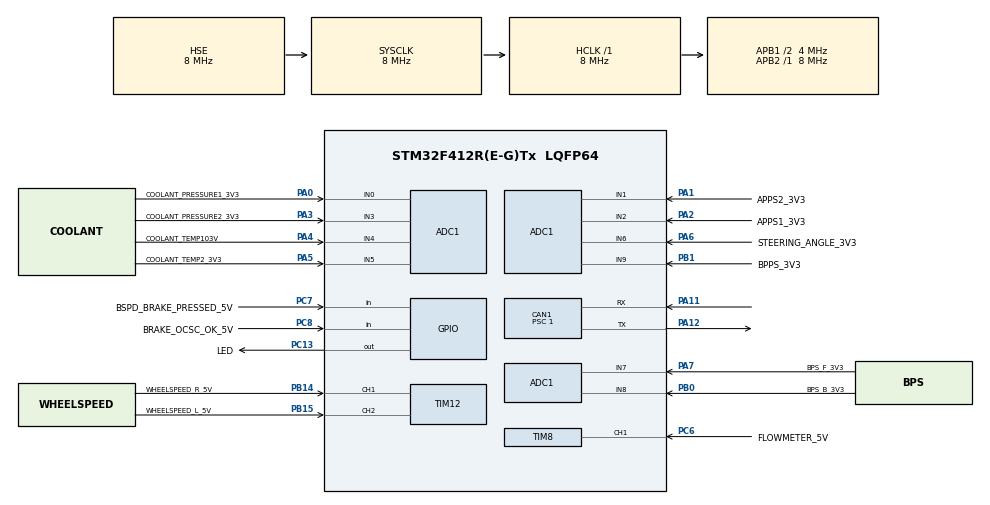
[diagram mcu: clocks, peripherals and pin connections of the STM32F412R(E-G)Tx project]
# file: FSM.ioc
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ADC1.Channel-0\#ChannelRegularConversion=ADC_CHANNEL_0
ADC1.Channel-1\#ChannelRegularConversion=ADC_CHANNEL_1
ADC1.Channel-2\#ChannelRegularConversion=ADC_CHANNEL_2
ADC1.Channel-3\#ChannelRegularConversion=ADC_CHANNEL_3
ADC1.Channel-4\#ChannelRegularConversion=ADC_CHANNEL_4
ADC1.Channel-5\#ChannelRegularConversion=ADC_CHANNEL_5
ADC1.Channel-6\#ChannelRegularConversion=ADC_CHANNEL_6
ADC1.Channel-7\#ChannelRegularConversion=ADC_CHANNEL_7
ADC1.Channel-8\#ChannelRegularConversion=ADC_CHANNEL_8
ADC1.Channel-9\#ChannelRegularConversion=ADC_CHANNEL_9
ADC1.DMAContinuousRequests=ENABLE
ADC1.ExternalTrigConv=ADC_EXTERNALTRIGCONV_T3_TRGO
ADC1.NbrOfConversion=10
ADC1.NbrOfConversionFlag=1
ADC1.Rank-0\#ChannelRegularConversion=1
ADC1.Rank-1\#ChannelRegularConversion=2
ADC1.Rank-2\#ChannelRegularConversion=3
ADC1.Rank-3\#ChannelRegularConversion=4
ADC1.Rank-4\#ChannelRegularConversion=5
ADC1.Rank-5\#ChannelRegularConversion=6
ADC1.Rank-6\#ChannelRegularConversion=7
ADC1.Rank-7\#ChannelRegularConversion=8
ADC1.Rank-8\#ChannelRegularConversion=9
ADC1.Rank-9\#ChannelRegularConversion=10
ADC1.SamplingTime-0\#ChannelRegularConversion=ADC_SAMPLETIME_3CYCLES
ADC1.SamplingTime-1\#ChannelRegularConversion=ADC_SAMPLETIME_3CYCLES
ADC1.SamplingTime-2\#ChannelRegularConversion=ADC_SAMPLETIME_3CYCLES
ADC1.SamplingTime-3\#ChannelRegularConversion=ADC_SAMPLETIME_3CYCLES
ADC1.SamplingTime-4\#ChannelRegularConversion=ADC_SAMPLETIME_3CYCLES
ADC1.SamplingTime-5\#ChannelRegularConversion=ADC_SAMPLETIME_3CYCLES
ADC1.SamplingTime-6\#ChannelRegularConversion=ADC_SAMPLETIME_3CYCLES
ADC1.SamplingTime-7\#ChannelRegularConversion=ADC_SAMPLETIME_3CYCLES
ADC1.SamplingTime-8\#ChannelRegularConversion=ADC_SAMPLETIME_3CYCLES
ADC1.SamplingTime-9\#ChannelRegularConversion=ADC_SAMPLETIME_3CYCLES
ADC1.master=1
CAN1.ABOM=ENABLE
CAN1.BS1=CAN_BS1_6TQ
CAN1.CalculateTimeQuantum=250.0
CAN1.NART=ENABLE
CAN1.Prescaler=1
CAN1.RFLM=ENABLE
CAN1.SJW=CAN_SJW_4TQ
CAN1.TXFP=ENABLE
Dma.ADC1.0.Direction=DMA_PERIPH_TO_MEMORY
Dma.ADC1.0.FIFOMode=DMA_FIFOMODE_DISABLE
Dma.ADC1.0.Instance=DMA2_Stream0
Dma.ADC1.0.MemDataAlignment=DMA_MDATAALIGN_HALFWORD
Dma.ADC1.0.MemInc=DMA_MINC_ENABLE
Dma.ADC1.0.Mode=DMA_CIRCULAR
Dma.ADC1.0.PeriphDataAlignment=DMA_PDATAALIGN_HALFWORD
Dma.ADC1.0.PeriphInc=DMA_PINC_DISABLE
Dma.ADC1.0.Priority=DMA_PRIORITY_LOW
Dma.Request0=ADC1
FREERTOS.INCLUDE_vTaskDelayUntil=1
FREERTOS.MEMORY_ALLOCATION=1
FREERTOS.Tasks01=Task1kHz,0,512,RunTask1kHz,Default,NULL,Static,Task1kHzBuffer,Task1kHzControlBlock;Task100Hz,-1,512,RunTask100Hz,Default,NULL,Static,Task100HzBuffer,Task100HzControlBlock;TaskCanRx,-3,512,RunTaskCanRx,Default,NULL,Static,TaskCanRxBuffer,TaskCanRxControlBlock;TaskCanTx,-3,512,RunTaskCanTx,Default,NULL,Static,TaskCanTxBuffer,TaskCanTxControlBlock;Task1Hz,-2,512,RunTask1Hz,Default,NULL,Static,Task1HzBuffer,Task1HzControlBlock
FREERTOS.configCHECK_FOR_STACK_OVERFLOW=2
FREERTOS.configUSE_TICK_HOOK=1
FREERTOS.configUSE_TRACE_FACILITY=1
IWDG.Reload=LSI_FREQUENCY / IWDG_PRESCALER / IWDG_RESET_FREQUENCY
Mcu.Family=STM32F4
Mcu.Name=STM32F412R(E-G)Tx
Mcu.Package=LQFP64
Mcu.UserConstants=LSI_FREQUENCY,32000;IWDG_PRESCALER,4;IWDG_RESET_FREQUENCY,5;IWDG_WINDOW_DISABLE_VALUE,4095;IDWG_RESET_FREQUENCY,5;TASK_1HZ_STACK_SIZE,512;TASK_100HZ_STACK_SIZE,512;TASK_1KHZ_STACK_SIZE,512;TASK_CANRX_STACK_SIZE,512;TASK_CANTX_STACK_SIZE,512;TIM8_AUTO_RELOAD_REG,0xFFFF;TIMx_FREQUENCY,8000000;TIM8_PWM_MINIMUM_FREQUENCY,1;ADC_FREQUENCY,1000;TIM8_PRESCALER,(TIMx_FREQUENCY / TIM8_AUTO_RELOAD_REG / TIM8_PWM_MINIMUM_FREQUENCY);TIM12_AUTO_RELOAD_REG,0xFFFF;TIM12_PRESCALER,(TIMx_FREQUENCY / TIM12_AUTO_RELOAD_REG / TIM12_PWM_MINIMUM_FREQUENCY);TIM12_PWM_MINIMUM_FREQUENCY,1;TIM3_PRESCALER,8
NVIC.CAN1_RX0_IRQn=true\:5\:0\:false\:false\:true\:true\:true\:true
NVIC.CAN1_RX1_IRQn=true\:5\:0\:false\:false\:true\:true\:true\:true
NVIC.DMA2_Stream0_IRQn=true\:5\:0\:false\:false\:true\:true\:false\:true
NVIC.PriorityGroup=NVIC_PRIORITYGROUP_4
NVIC.TIM3_IRQn=true\:5\:0\:false\:false\:true\:true\:true\:true
NVIC.TIM6_IRQn=true\:0\:0\:false\:false\:true\:false\:false\:true
NVIC.TIM8_BRK_TIM12_IRQn=true\:5\:0\:false\:false\:true\:true\:true\:true
NVIC.TIM8_CC_IRQn=true\:5\:0\:false\:false\:true\:true\:true\:true
NVIC.TimeBase=TIM6_IRQn
NVIC.TimeBaseIP=TIM6
PA0.GPIO_Label=COOLANT_PRESSURE1_3V3
PA0.Signal=ADCx_IN0
PA1.GPIO_Label=APPS2_3V3
PA1.Signal=ADCx_IN1
PA11.Mode=Master
PA11.Signal=CAN1_RX
PA12.Mode=Master
PA12.Signal=CAN1_TX
PA13.Mode=Trace_Asynchronous_SW
PA13.Signal=SYS_JTMS-SWDIO
PA14.Mode=Trace_Asynchronous_SW
PA14.Signal=SYS_JTCK-SWCLK
PA2.GPIO_Label=APPS1_3V3
PA2.Signal=ADCx_IN2
PA3.GPIO_Label=COOLANT_PRESSURE2_3V3
PA3.Signal=ADCx_IN3
PA4.GPIO_Label=COOLANT_TEMP103V
PA4.Signal=ADCx_IN4
PA5.GPIO_Label=COOLANT_TEMP2_3V3
PA5.Signal=ADCx_IN5
PA6.GPIO_Label=STEERING_ANGLE_3V3
PA6.Signal=ADCx_IN6
PA7.GPIO_Label=BPS_F_3V3
PA7.Signal=ADCx_IN7
PB0.GPIO_Label=BPS_B_3V3
PB0.Signal=ADCx_IN8
PB1.GPIO_Label=BPPS_3V3
PB1.Signal=ADCx_IN9
PB14.GPIO_Label=WHEELSPEED_R_5V
PB14.Signal=S_TIM12_CH1
PB15.GPIO_Label=WHEELSPEED_L_5V
PB15.Signal=S_TIM12_CH2
PB3.Mode=Trace_Asynchronous_SW
PB3.Signal=SYS_JTDO-SWO
PC13.GPIO_Label=LED
PC13.Signal=GPIO_Output
PC6.GPIO_Label=FLOWMETER_5V
PC6.Signal=S_TIM8_CH1
PC7.GPIO_Label=BSPD_BRAKE_PRESSED_5V
PC7.Signal=GPIO_Input
PC8.GPIO_Label=BRAKE_OCSC_OK_5V
PC8.Signal=GPIO_Input
PH0\ -\ OSC_IN.Mode=HSE-External-Oscillator
PH0\ -\ OSC_IN.Signal=RCC_OSC_IN
PH1\ -\ OSC_OUT.Mode=HSE-External-Oscillator
PH1\ -\ OSC_OUT.Signal=RCC_OSC_OUT
ProjectManager.HeapSize=0x200
ProjectManager.StackSize=0x400
ProjectManager.TargetToolchain=SW4STM32
RCC.AHBFreq_Value=8000000
RCC.APB1CLKDivider=RCC_HCLK_DIV2
RCC.APB1Freq_Value=4000000
RCC.APB1TimFreq_Value=8000000
RCC.APB2Freq_Value=8000000
RCC.APB2TimFreq_Value=8000000
RCC.CortexFreq_Value=8000000
RCC.HCLKFreq_Value=8000000
RCC.HSE_VALUE=8000000
RCC.PLLM=8
RCC.PLLSourceVirtual=RCC_PLLSOURCE_HSE
RCC.SYSCLKFreq_VALUE=8000000
RCC.SYSCLKSource=RCC_SYSCLKSOURCE_HSE
RCC.USBFreq_Value=96000000
RCC.VCOOutputFreq_Value=192000000
SH.ADCx_IN0.0=ADC1_IN0,IN0
SH.ADCx_IN1.0=ADC1_IN1,IN1
SH.ADCx_IN2.0=ADC1_IN2,IN2
SH.ADCx_IN3.0=ADC1_IN3,IN3
SH.ADCx_IN4.0=ADC1_IN4,IN4
SH.ADCx_IN5.0=ADC1_IN5,IN5
SH.ADCx_IN6.0=ADC1_IN6,IN6
SH.ADCx_IN7.0=ADC1_IN7,IN7
SH.ADCx_IN8.0=ADC1_IN8,IN8
SH.ADCx_IN9.0=ADC1_IN9,IN9
SH.S_TIM12_CH1.0=TIM12_CH1,Input_Capture1_from_TI1
SH.S_TIM12_CH2.0=TIM12_CH2,Input_Capture2_from_TI2
SH.S_TIM8_CH1.0=TIM8_CH1,Input_Capture1_from_TI1
TIM12.Channel-Input_Capture1_from_TI1=TIM_CHANNEL_1
TIM12.Channel-Input_Capture2_from_TI2=TIM_CHANNEL_2
TIM12.Period=TIM12_AUTO_RELOAD_REG
TIM12.Prescaler=TIM12_PRESCALER
TIM3.Period=(TIMx_FREQUENCY / TIM3_PRESCALER / ADC_FREQUENCY) - 1
TIM3.Prescaler=TIM3_PRESCALER - 1 
TIM3.TIM_MasterOutputTrigger=TIM_TRGO_UPDATE
TIM8.Channel-Input_Capture1_from_TI1=TIM_CHANNEL_1
TIM8.Period=TIM8_AUTO_RELOAD_REG
TIM8.Prescaler=TIM8_PRESCALER
VP_FREERTOS_VS_CMSIS_V1.Mode=CMSIS_V1
VP_IWDG_VS_IWDG.Mode=IWDG_Activate
VP_SYS_VS_tim6.Mode=TIM6
VP_TIM3_VS_ClockSourceINT.Mode=Internal
board=custom

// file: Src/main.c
/* USER CODE BEGIN Header */
/**
 ******************************************************************************
 * @file           : main.c
 * @brief          : Main program body
 ******************************************************************************
 * @attention
 *
 * <h2><center>&copy; Copyright (c) 2020 STMicroelectronics.
 * All rights reserved.</center></h2>
 *
 * This software component is licensed by ST under Ultimate Liberty license
 * SLA0044, the "License"; You may not use this file except in compliance with
 * the License. You may obtain a copy of the License at:
 *                             www.st.com/SLA0044
 *
 ******************************************************************************
 */
/* USER CODE END Header */

#include "main.h"
#include "cmsis_os.h"

/* USER CODE BEGIN Includes */
#include <assert.h>
// shared
#include "App_SharedMacros.h"
#include "App_SharedStateMachine.h"
#include "App_Timer.h"
#include "App_CanAlerts.h"

// IO functions exposing
#include "Io_CanTx.h"
#include "Io_CanRx.h"
#include "Io_SharedSoftwareWatchdog.h"
#include "Io_SharedCan.h"
#include "Io_SharedHardFaultHandler.h"
#include "Io_StackWaterMark.h"
#include "Io_SoftwareWatchdog.h"
#include "Io_Coolant.h"
#include "Io_SharedHeartbeatMonitor.h"
#include "Io_WheelSpeedSensors.h"
#include "Io_SteeringAngleSensor.h"
#include "Io_Adc.h"
#include "Io_AcceleratorPedals.h"
#include "Io_Brake.h"
#include "Io_PrimaryScancon2RMHF.h"
#include "Io_SecondaryScancon2RMHF.h"

// world/state
#include "App_FsmWorld.h"
#include "states/App_DriveState.h"

// Sensors
#include "App_AcceleratorPedals.h"
#include "App_Brake.h"
#include "App_Coolant.h"
#include "App_Steering.h"
#include "App_Wheels.h"
#include "configs/App_HeartbeatMonitorConfig.h"

/* USER CODE END Includes */

ADC_HandleTypeDef hadc1;
DMA_HandleTypeDef hdma_adc1;

CAN_HandleTypeDef hcan1;

IWDG_HandleTypeDef hiwdg;

TIM_HandleTypeDef htim3;
TIM_HandleTypeDef htim8;
TIM_HandleTypeDef htim12;

osThreadId          Task1kHzHandle;
uint32_t            Task1kHzBuffer[512];
osStaticThreadDef_t Task1kHzControlBlock;
osThreadId          Task100HzHandle;
uint32_t            Task100HzBuffer[512];
osStaticThreadDef_t Task100HzControlBlock;
osThreadId          TaskCanRxHandle;
uint32_t            TaskCanRxBuffer[512];
osStaticThreadDef_t TaskCanRxControlBlock;
osThreadId          TaskCanTxHandle;
uint32_t            TaskCanTxBuffer[512];
osStaticThreadDef_t TaskCanTxControlBlock;
osThreadId          Task1HzHandle;
uint32_t            Task1HzBuffer[512];
osStaticThreadDef_t Task1HzControlBlock;
/* USER CODE BEGIN PV */
struct Brake *            brake;
struct World *            world;
struct StateMachine *     state_machine;
struct HeartbeatMonitor * heartbeat_monitor;
struct AcceleratorPedals *papps_and_sapps;
struct Coolant *          coolant;
struct Steering *         steering;
struct Wheels *           wheels;
/* USER CODE END PV */

void        SystemClock_Config(void);
static void MX_GPIO_Init(void);
static void MX_DMA_Init(void);
static void MX_ADC1_Init(void);
static void MX_CAN1_Init(void);
static void MX_IWDG_Init(void);
static void MX_TIM8_Init(void);
static void MX_TIM12_Init(void);
static void MX_TIM3_Init(void);
void        RunTask1kHz(void const *argument);
void        RunTask100Hz(void const *argument);
void        RunTaskCanRx(void const *argument);
void        RunTaskCanTx(void const *argument);
void        RunTask1Hz(void const *argument);

/* USER CODE BEGIN PFP */

static void CanRxQueueOverflowCallBack(size_t overflow_count);
static void CanTxQueueOverflowCallBack(size_t overflow_count);

/* USER CODE END PFP */

/* USER CODE BEGIN 0 */

static void CanRxQueueOverflowCallBack(size_t overflow_count)
{
    App_CanTx_FSM_Warnings_RxOverflowCount_Set(overflow_count);
}

static void CanTxQueueOverflowCallBack(size_t overflow_count)
{
    App_CanTx_FSM_Warnings_TxOverflowCount_Set(overflow_count);
}

/* USER CODE END 0 */

int main(void)
{

    /* MCU Configuration--------------------------------------------------------*/

    /* Reset of all peripherals, Initializes the Flash interface and the Systick. */
    HAL_Init();

    /* Configure the system clock */
    SystemClock_Config();

    /* USER CODE BEGIN SysInit */
    HAL_Delay(1000U);
    /* USER CODE END SysInit */

    /* Initialize all configured peripherals */
    MX_GPIO_Init();
    MX_DMA_Init();
    MX_ADC1_Init();
    MX_CAN1_Init();
    MX_IWDG_Init();
    MX_TIM8_Init();
    MX_TIM12_Init();
    MX_TIM3_Init();
    /* USER CODE BEGIN 2 */
    __HAL_DBGMCU_FREEZE_IWDG();

    HAL_ADC_Start_DMA(&hadc1, (uint32_t *)Io_Adc_GetRawAdcValues(), hadc1.Init.NbrOfConversion);
    HAL_TIM_Base_Start(&htim3);

    Io_SharedHardFaultHandler_Init();
    Io_SharedSoftwareWatchdog_Init(Io_HardwareWatchdog_Refresh, Io_SoftwareWatchdog_TimeoutCallback);
    Io_SharedCan_Init(&hcan1, CanTxQueueOverflowCallBack, CanRxQueueOverflowCallBack);

    App_CanTx_Init();
    App_CanRx_Init();
    App_CanAlerts_Init(Io_CanTx_FSM_Alerts_SendAperiodic);

    heartbeat_monitor = App_SharedHeartbeatMonitor_Create(
        Io_SharedHeartbeatMonitor_GetCurrentMs, HEARTBEAT_MONITOR_TIMEOUT_PERIOD_MS, HEARTBEAT_MONITOR_BOARDS_TO_CHECK);

    papps_and_sapps = App_AcceleratorPedals_Create(
        Io_AcceleratorPedals_GetPapps, Io_AcceleratorPedals_PappsOCSC, Io_AcceleratorPedals_GetSapps,
        Io_AcceleratorPedals_SappsOCSC);

    brake = App_Brake_Create(
        Io_Brake_GetFrontPressurePsi, Io_Brake_FrontPressureSensorOCSC, Io_Brake_GetRearPressurePsi,
        Io_Brake_RearPressureSensorOCSC, Io_Brake_GetPedalPercentTravel, Io_Brake_PedalSensorOCSC, Io_Brake_IsActuated);

    Io_FlowMeter_Init(&htim8);
    coolant = App_Coolant_Create(
        Io_FlowMeter_GetFlowRate, Io_Coolant_GetTemperatureA, Io_Coolant_GetTemperatureB, Io_Coolant_GetPressureA,
        Io_Coolant_GetPressureB);

    steering = App_Steering_Create(Io_SteeringAngleSensor_GetAngleDegree, Io_SteeringSensorOCSC);

    Io_WheelSpeedSensors_Init(&htim12, &htim12);
    wheels = App_Wheels_Create(Io_WheelSpeedSensors_GetLeftSpeedKph, Io_WheelSpeedSensors_GetRightSpeedKph);

    world = App_FsmWorld_Create(heartbeat_monitor, papps_and_sapps, brake, coolant, steering, wheels);

    state_machine = App_SharedStateMachine_Create(world, App_GetDriveState());

    App_CanAlerts_SetAlert(FSM_STARTUP, true);
    /* USER CODE END 2 */

    /* Create the thread(s) */
    /* definition and creation of Task1kHz */
    osThreadStaticDef(Task1kHz, RunTask1kHz, osPriorityNormal, 0, 512, Task1kHzBuffer, &Task1kHzControlBlock);
    Task1kHzHandle = osThreadCreate(osThread(Task1kHz), NULL);

    /* definition and creation of Task100Hz */
    osThreadStaticDef(Task100Hz, RunTask100Hz, osPriorityBelowNormal, 0, 512, Task100HzBuffer, &Task100HzControlBlock);
    Task100HzHandle = osThreadCreate(osThread(Task100Hz), NULL);

    /* definition and creation of TaskCanRx */
    osThreadStaticDef(TaskCanRx, RunTaskCanRx, osPriorityIdle, 0, 512, TaskCanRxBuffer, &TaskCanRxControlBlock);
    TaskCanRxHandle = osThreadCreate(osThread(TaskCanRx), NULL);

    /* definition and creation of TaskCanTx */
    osThreadStaticDef(TaskCanTx, RunTaskCanTx, osPriorityIdle, 0, 512, TaskCanTxBuffer, &TaskCanTxControlBlock);
    TaskCanTxHandle = osThreadCreate(osThread(TaskCanTx), NULL);

    /* definition and creation of Task1Hz */
    osThreadStaticDef(Task1Hz, RunTask1Hz, osPriorityLow, 0, 512, Task1HzBuffer, &Task1HzControlBlock);
    Task1HzHandle = osThreadCreate(osThread(Task1Hz), NULL);

    /* USER CODE BEGIN RTOS_THREADS */
    /* add threads, ... */
#if (configUSE_TRACE_FACILITY == 1)
    vTraceEnable(TRC_INIT);
#endif
    /* USER CODE END RTOS_THREADS */

    /* Start scheduler */
    osKernelStart();

    /* We should never get here as control is now taken by the scheduler */

    /* Infinite loop */
    while (1)
    {

    }
}

void SystemClock_Config(void)
{
    RCC_OscInitTypeDef RCC_OscInitStruct = { 0 };
    RCC_ClkInitTypeDef RCC_ClkInitStruct = { 0 };

    /** Configure the main internal regulator output voltage
     */
    __HAL_RCC_PWR_CLK_ENABLE();
    __HAL_PWR_VOLTAGESCALING_CONFIG(PWR_REGULATOR_VOLTAGE_SCALE1);
    /** Initializes the CPU, AHB and APB busses clocks
     */
    RCC_OscInitStruct.OscillatorType = RCC_OSCILLATORTYPE_LSI | RCC_OSCILLATORTYPE_HSE;
    RCC_OscInitStruct.HSEState       = RCC_HSE_ON;
    RCC_OscInitStruct.LSIState       = RCC_LSI_ON;
    RCC_OscInitStruct.PLL.PLLState   = RCC_PLL_NONE;
    if (HAL_RCC_OscConfig(&RCC_OscInitStruct) != HAL_OK)
    {
        Error_Handler();
    }
    /** Initializes the CPU, AHB and APB busses clocks
     */
    RCC_ClkInitStruct.ClockType = RCC_CLOCKTYPE_HCLK | RCC_CLOCKTYPE_SYSCLK | RCC_CLOCKTYPE_PCLK1 | RCC_CLOCKTYPE_PCLK2;
    RCC_ClkInitStruct.SYSCLKSource   = RCC_SYSCLKSOURCE_HSE;
    RCC_ClkInitStruct.AHBCLKDivider  = RCC_SYSCLK_DIV1;
    RCC_ClkInitStruct.APB1CLKDivider = RCC_HCLK_DIV2;
    RCC_ClkInitStruct.APB2CLKDivider = RCC_HCLK_DIV1;

    if (HAL_RCC_ClockConfig(&RCC_ClkInitStruct, FLASH_LATENCY_0) != HAL_OK)
    {
        Error_Handler();
    }
}

static void MX_ADC1_Init(void)
{

    ADC_ChannelConfTypeDef sConfig = { 0 };

    /** Configure the global features of the ADC (Clock, Resolution, Data Alignment and number of conversion)
     */
    hadc1.Instance                   = ADC1;
    hadc1.Init.ClockPrescaler        = ADC_CLOCK_SYNC_PCLK_DIV2;
    hadc1.Init.Resolution            = ADC_RESOLUTION_12B;
    hadc1.Init.ScanConvMode          = ENABLE;
    hadc1.Init.ContinuousConvMode    = DISABLE;
    hadc1.Init.DiscontinuousConvMode = DISABLE;
    hadc1.Init.ExternalTrigConvEdge  = ADC_EXTERNALTRIGCONVEDGE_RISING;
    hadc1.Init.ExternalTrigConv      = ADC_EXTERNALTRIGCONV_T3_TRGO;
    hadc1.Init.DataAlign             = ADC_DATAALIGN_RIGHT;
    hadc1.Init.NbrOfConversion       = 10;
    hadc1.Init.DMAContinuousRequests = ENABLE;
    hadc1.Init.EOCSelection          = ADC_EOC_SINGLE_CONV;
    if (HAL_ADC_Init(&hadc1) != HAL_OK)
    {
        Error_Handler();
    }
    /** Configure for the selected ADC regular channel its corresponding rank in the sequencer and its sample time.
     */
    sConfig.Channel      = ADC_CHANNEL_0;
    sConfig.Rank         = 1;
    sConfig.SamplingTime = ADC_SAMPLETIME_3CYCLES;
    if (HAL_ADC_ConfigChannel(&hadc1, &sConfig) != HAL_OK)
    {
        Error_Handler();
    }
    /** Configure for the selected ADC regular channel its corresponding rank in the sequencer and its sample time.
     */
    sConfig.Channel = ADC_CHANNEL_1;
    sConfig.Rank    = 2;
    if (HAL_ADC_ConfigChannel(&hadc1, &sConfig) != HAL_OK)
    {
        Error_Handler();
    }
    /** Configure for the selected ADC regular channel its corresponding rank in the sequencer and its sample time.
     */
    sConfig.Channel = ADC_CHANNEL_2;
    sConfig.Rank    = 3;
    if (HAL_ADC_ConfigChannel(&hadc1, &sConfig) != HAL_OK)
    {
        Error_Handler();
    }
    /** Configure for the selected ADC regular channel its corresponding rank in the sequencer and its sample time.
     */
    sConfig.Channel = ADC_CHANNEL_3;
    sConfig.Rank    = 4;
    if (HAL_ADC_ConfigChannel(&hadc1, &sConfig) != HAL_OK)
    {
        Error_Handler();
    }
    /** Configure for the selected ADC regular channel its corresponding rank in the sequencer and its sample time.
     */
    sConfig.Channel = ADC_CHANNEL_4;
    sConfig.Rank    = 5;
    if (HAL_ADC_ConfigChannel(&hadc1, &sConfig) != HAL_OK)
    {
        Error_Handler();
    }
    /** Configure for the selected ADC regular channel its corresponding rank in the sequencer and its sample time.
     */
    sConfig.Channel = ADC_CHANNEL_5;
    sConfig.Rank    = 6;
    if (HAL_ADC_ConfigChannel(&hadc1, &sConfig) != HAL_OK)
    {
        Error_Handler();
    }
    /** Configure for the selected ADC regular channel its corresponding rank in the sequencer and its sample time.
     */
    sConfig.Channel = ADC_CHANNEL_6;
    sConfig.Rank    = 7;
    if (HAL_ADC_ConfigChannel(&hadc1, &sConfig) != HAL_OK)
    {
        Error_Handler();
    }
    /** Configure for the selected ADC regular channel its corresponding rank in the sequencer and its sample time.
     */
    sConfig.Channel = ADC_CHANNEL_7;
    sConfig.Rank    = 8;
    if (HAL_ADC_ConfigChannel(&hadc1, &sConfig) != HAL_OK)
    {
        Error_Handler();
    }
    /** Configure for the selected ADC regular channel its corresponding rank in the sequencer and its sample time.
     */
    sConfig.Channel = ADC_CHANNEL_8;
    sConfig.Rank    = 9;
    if (HAL_ADC_ConfigChannel(&hadc1, &sConfig) != HAL_OK)
    {
        Error_Handler();
    }
    /** Configure for the selected ADC regular channel its corresponding rank in the sequencer and its sample time.
     */
    sConfig.Channel = ADC_CHANNEL_9;
    sConfig.Rank    = 10;
    if (HAL_ADC_ConfigChannel(&hadc1, &sConfig) != HAL_OK)
    {
        Error_Handler();
    }
}

static void MX_CAN1_Init(void)
{

    hcan1.Instance                  = CAN1;
    hcan1.Init.Prescaler            = 1;
    hcan1.Init.Mode                 = CAN_MODE_NORMAL;
    hcan1.Init.SyncJumpWidth        = CAN_SJW_4TQ;
    hcan1.Init.TimeSeg1             = CAN_BS1_6TQ;
    hcan1.Init.TimeSeg2             = CAN_BS2_1TQ;
    hcan1.Init.TimeTriggeredMode    = DISABLE;
    hcan1.Init.AutoBusOff           = ENABLE;
    hcan1.Init.AutoWakeUp           = DISABLE;
    hcan1.Init.AutoRetransmission   = ENABLE;
    hcan1.Init.ReceiveFifoLocked    = ENABLE;
    hcan1.Init.TransmitFifoPriority = ENABLE;
    if (HAL_CAN_Init(&hcan1) != HAL_OK)
    {
        Error_Handler();
    }
}

static void MX_IWDG_Init(void)
{

    hiwdg.Instance       = IWDG;
    hiwdg.Init.Prescaler = IWDG_PRESCALER_4;
    hiwdg.Init.Reload    = LSI_FREQUENCY / IWDG_PRESCALER / IWDG_RESET_FREQUENCY;
    if (HAL_IWDG_Init(&hiwdg) != HAL_OK)
    {
        Error_Handler();
    }
}

static void MX_TIM3_Init(void)
{

    TIM_ClockConfigTypeDef  sClockSourceConfig = { 0 };
    TIM_MasterConfigTypeDef sMasterConfig      = { 0 };

    htim3.Instance               = TIM3;
    htim3.Init.Prescaler         = TIM3_PRESCALER - 1;
    htim3.Init.CounterMode       = TIM_COUNTERMODE_UP;
    htim3.Init.Period            = (TIMx_FREQUENCY / TIM3_PRESCALER / ADC_FREQUENCY) - 1;
    htim3.Init.ClockDivision     = TIM_CLOCKDIVISION_DIV1;
    htim3.Init.AutoReloadPreload = TIM_AUTORELOAD_PRELOAD_DISABLE;
    if (HAL_TIM_Base_Init(&htim3) != HAL_OK)
    {
        Error_Handler();
    }
    sClockSourceConfig.ClockSource = TIM_CLOCKSOURCE_INTERNAL;
    if (HAL_TIM_ConfigClockSource(&htim3, &sClockSourceConfig) != HAL_OK)
    {
        Error_Handler();
    }
    sMasterConfig.MasterOutputTrigger = TIM_TRGO_UPDATE;
    sMasterConfig.MasterSlaveMode     = TIM_MASTERSLAVEMODE_DISABLE;
    if (HAL_TIMEx_MasterConfigSynchronization(&htim3, &sMasterConfig) != HAL_OK)
    {
        Error_Handler();
    }
}

static void MX_TIM8_Init(void)
{

    TIM_MasterConfigTypeDef sMasterConfig = { 0 };
    TIM_IC_InitTypeDef      sConfigIC     = { 0 };

    htim8.Instance               = TIM8;
    htim8.Init.Prescaler         = 0;
    htim8.Init.CounterMode       = TIM_COUNTERMODE_UP;
    htim8.Init.Period            = 0;
    htim8.Init.ClockDivision     = TIM_CLOCKDIVISION_DIV1;
    htim8.Init.RepetitionCounter = 0;
    htim8.Init.AutoReloadPreload = TIM_AUTORELOAD_PRELOAD_DISABLE;
    if (HAL_TIM_IC_Init(&htim8) != HAL_OK)
    {
        Error_Handler();
    }
    sMasterConfig.MasterOutputTrigger = TIM_TRGO_RESET;
    sMasterConfig.MasterSlaveMode     = TIM_MASTERSLAVEMODE_DISABLE;
    if (HAL_TIMEx_MasterConfigSynchronization(&htim8, &sMasterConfig) != HAL_OK)
    {
        Error_Handler();
    }
    sConfigIC.ICPolarity  = TIM_INPUTCHANNELPOLARITY_RISING;
    sConfigIC.ICSelection = TIM_ICSELECTION_DIRECTTI;
    sConfigIC.ICPrescaler = TIM_ICPSC_DIV1;
    sConfigIC.ICFilter    = 0;
    if (HAL_TIM_IC_ConfigChannel(&htim8, &sConfigIC, TIM_CHANNEL_1) != HAL_OK)
    {
        Error_Handler();
    }
}

static void MX_TIM12_Init(void)
{

    TIM_IC_InitTypeDef sConfigIC = { 0 };

    htim12.Instance               = TIM12;
    htim12.Init.Prescaler         = 0;
    htim12.Init.CounterMode       = TIM_COUNTERMODE_UP;
    htim12.Init.Period            = 0;
    htim12.Init.ClockDivision     = TIM_CLOCKDIVISION_DIV1;
    htim12.Init.AutoReloadPreload = TIM_AUTORELOAD_PRELOAD_DISABLE;
    if (HAL_TIM_IC_Init(&htim12) != HAL_OK)
    {
        Error_Handler();
    }
    sConfigIC.ICPolarity  = TIM_INPUTCHANNELPOLARITY_RISING;
    sConfigIC.ICSelection = TIM_ICSELECTION_DIRECTTI;
    sConfigIC.ICPrescaler = TIM_ICPSC_DIV1;
    sConfigIC.ICFilter    = 0;
    if (HAL_TIM_IC_ConfigChannel(&htim12, &sConfigIC, TIM_CHANNEL_1) != HAL_OK)
    {
        Error_Handler();
    }
    if (HAL_TIM_IC_ConfigChannel(&htim12, &sConfigIC, TIM_CHANNEL_2) != HAL_OK)
    {
        Error_Handler();
    }
}

static void MX_DMA_Init(void)
{
    /* DMA controller clock enable */
    __HAL_RCC_DMA2_CLK_ENABLE();

    /* DMA interrupt init */
    /* DMA2_Stream0_IRQn interrupt configuration */
    HAL_NVIC_SetPriority(DMA2_Stream0_IRQn, 5, 0);
    HAL_NVIC_EnableIRQ(DMA2_Stream0_IRQn);
}

static void MX_GPIO_Init(void)
{
    GPIO_InitTypeDef GPIO_InitStruct = { 0 };

    /* GPIO Ports Clock Enable */
    __HAL_RCC_GPIOC_CLK_ENABLE();
    __HAL_RCC_GPIOH_CLK_ENABLE();
    __HAL_RCC_GPIOA_CLK_ENABLE();
    __HAL_RCC_GPIOB_CLK_ENABLE();

    /*Configure GPIO pin Output Level */
    HAL_GPIO_WritePin(LED_GPIO_Port, LED_Pin, GPIO_PIN_RESET);

    /*Configure GPIO pin : LED_Pin */
    GPIO_InitStruct.Pin   = LED_Pin;
    GPIO_InitStruct.Mode  = GPIO_MODE_OUTPUT_PP;
    GPIO_InitStruct.Pull  = GPIO_NOPULL;
    GPIO_InitStruct.Speed = GPIO_SPEED_FREQ_LOW;
    HAL_GPIO_Init(LED_GPIO_Port, &GPIO_InitStruct);

    /*Configure GPIO pins : BSPD_BRAKE_PRESSED_5V_Pin BRAKE_OCSC_OK_5V_Pin */
    GPIO_InitStruct.Pin  = BSPD_BRAKE_PRESSED_5V_Pin | BRAKE_OCSC_OK_5V_Pin;
    GPIO_InitStruct.Mode = GPIO_MODE_INPUT;
    GPIO_InitStruct.Pull = GPIO_NOPULL;
    HAL_GPIO_Init(GPIOC, &GPIO_InitStruct);
}

void RunTask1kHz(void const *argument)
{
    /* USER CODE BEGIN 5 */
    UNUSED(argument);
    uint32_t                 PreviousWakeTime = osKernelSysTick();
    static const TickType_t  period_ms        = 1U;
    SoftwareWatchdogHandle_t watchdog         = Io_SharedSoftwareWatchdog_AllocateWatchdog();
    Io_SharedSoftwareWatchdog_InitWatchdog(watchdog, RTOS_TASK_1KHZ, period_ms);

    for (;;)
    {
        Io_SharedSoftwareWatchdog_CheckForTimeouts();
        const uint32_t task_start_ms = TICK_TO_MS(osKernelSysTick());

        Io_CanTx_EnqueueOtherPeriodicMsgs(task_start_ms);

        // Watchdog check-in must be the last function called before putting the
        // task to sleep. Prevent check in if the elapsed period is greater or
        // equal to the period ms
        if ((TICK_TO_MS(osKernelSysTick()) - task_start_ms) <= period_ms)
        {
            Io_SharedSoftwareWatchdog_CheckInWatchdog(watchdog);
        }

        osDelayUntil(&PreviousWakeTime, period_ms);
    }
    /* USER CODE END 5 */
}

void RunTask100Hz(void const *argument)
{
    /* USER CODE BEGIN RunTask100Hz */
    UNUSED(argument);
    uint32_t                 PreviousWakeTime = osKernelSysTick();
    static const TickType_t  period_ms        = 10;
    SoftwareWatchdogHandle_t watchdog         = Io_SharedSoftwareWatchdog_AllocateWatchdog();
    Io_SharedSoftwareWatchdog_InitWatchdog(watchdog, RTOS_TASK_100HZ, period_ms);

    /* Infinite loop */
    for (;;)
    {
        App_SharedStateMachine_Tick100Hz(state_machine);
        Io_CanTx_Enqueue100HzMsgs();

        // Watchdog check-in must be the last function called before putting the
        // task to sleep.
        Io_SharedSoftwareWatchdog_CheckInWatchdog(watchdog);
        osDelayUntil(&PreviousWakeTime, period_ms);
    }
    /* USER CODE END RunTask100Hz */
}

void RunTaskCanRx(void const *argument)
{
    /* USER CODE BEGIN RunTaskCanRx */
    UNUSED(argument);

    /* Infinite loop */
    for (;;)
    {
        struct CanMsg message;
        Io_SharedCan_DequeueCanRxMessage(&message);
        Io_CanRx_UpdateRxTableWithMessage(&message);
    }
    /* USER CODE END RunTaskCanRx */
}

void RunTaskCanTx(void const *argument)
{
    /* USER CODE BEGIN RunTaskCanTx */
    UNUSED(argument);

    /* Infinite loop */
    for (;;)
    {
        Io_SharedCan_TransmitEnqueuedCanTxMessagesFromTask();
    }
    /* USER CODE END RunTaskCanTx */
}

void RunTask1Hz(void const *argument)
{
    /* USER CODE BEGIN RunTask1Hz */
    UNUSED(argument);
    uint32_t                 PreviousWakeTime = osKernelSysTick();
    static const TickType_t  period_ms        = 1000U;
    SoftwareWatchdogHandle_t watchdog         = Io_SharedSoftwareWatchdog_AllocateWatchdog();
    Io_SharedSoftwareWatchdog_InitWatchdog(watchdog, RTOS_TASK_1HZ, period_ms);

    for (;;)
    {
        Io_StackWaterMark_Check();
        App_SharedStateMachine_Tick1Hz(state_machine);
        Io_CanTx_Enqueue1HzMsgs();

        // Watchdog check-in must be the last function called before putting the
        // task to sleep.
        Io_SharedSoftwareWatchdog_CheckInWatchdog(watchdog);
        osDelayUntil(&PreviousWakeTime, period_ms);
    }
    /* USER CODE END RunTask1Hz */
}

void HAL_TIM_PeriodElapsedCallback(TIM_HandleTypeDef *htim)
{
    /* USER CODE BEGIN Callback 0 */
    if (htim->Instance == TIM4)
    {
        Io_FlowMeter_CheckIfFlowMeterIsActive();
    }
    else if (htim->Instance == TIM12)
    {
        Io_WheelSpeedSensors_CheckIfLeftSensorIsActive();
    }
    else if (htim->Instance == TIM12)
    {
        Io_WheelSpeedSensors_CheckIfRightSensorIsActive();
    }
    /* USER CODE END Callback 0 */
    if (htim->Instance == TIM6)
    {
        HAL_IncTick();
    }
}

void Error_Handler(void)
{
    /* USER CODE BEGIN Error_Handler_Debug */
    __assert_func(__FILE__, __LINE__, "Error_Handler", "Error_Handler");
    /* USER CODE END Error_Handler_Debug */
}

#ifdef USE_FULL_ASSERT
/**
 * @brief  Reports the name of the source file and the source line number
 *         where the assert_param error has occurred.
 * @param  file: pointer to the source file name
 * @param  line: assert_param error line source number
 * @retval None
 */
void assert_failed(uint8_t *file, uint32_t line)
{
    /* USER CODE BEGIN 6 */
    __assert_func(file, line, "assert_failed", "assert_failed");
    /* USER CODE END 6 */
}
#endif /* USE_FULL_ASSERT */

/************************ (C) COPYRIGHT STMicroelectronics *****END OF FILE****/

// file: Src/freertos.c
/* USER CODE BEGIN Header */
/**
 ******************************************************************************
 * File Name          : freertos.c
 * Description        : Code for freertos applications
 ******************************************************************************
 * @attention
 *
 * <h2><center>&copy; Copyright (c) 2020 STMicroelectronics.
 * All rights reserved.</center></h2>
 *
 * This software component is licensed by ST under Ultimate Liberty license
 * SLA0044, the "License"; You may not use this file except in compliance with
 * the License. You may obtain a copy of the License at:
 *                             www.st.com/SLA0044
 *
 ******************************************************************************
 */
/* USER CODE END Header */

#include "FreeRTOS.h"
#include "task.h"
#include "main.h"

/* USER CODE BEGIN Includes */
#include "Io_SharedSoftwareWatchdog.h"
/* USER CODE END Includes */

/* GetIdleTaskMemory prototype (linked to static allocation support) */
void vApplicationGetIdleTaskMemory( StaticTask_t **ppxIdleTaskTCBBuffer, StackType_t **ppxIdleTaskStackBuffer, uint32_t *pulIdleTaskStackSize );

/* Hook prototypes */
void vApplicationTickHook(void);
void vApplicationStackOverflowHook(xTaskHandle xTask, signed char *pcTaskName);

/* USER CODE BEGIN 3 */
__weak void vApplicationTickHook(void)
{
    /* This function will be called by each tick interrupt if
    configUSE_TICK_HOOK is set to 1 in FreeRTOSConfig.h. User code can be
    added here, but the tick hook is called from an interrupt context, so
    code must not attempt to block, and only the interrupt safe FreeRTOS API
    functions can be used (those that end in FromISR()). */
}
/* USER CODE END 3 */

/* USER CODE BEGIN 4 */
__weak void vApplicationStackOverflowHook(xTaskHandle xTask, signed char *pcTaskName)
{
    /* Run time stack overflow checking is performed if
    configCHECK_FOR_STACK_OVERFLOW is defined to 1 or 2. This hook function is
    called if a stack overflow is detected. */
    UNUSED(xTask);
    UNUSED(pcTaskName);
}
/* USER CODE END 4 */

/* USER CODE BEGIN GET_IDLE_TASK_MEMORY */
static StaticTask_t xIdleTaskTCBBuffer;
static StackType_t  xIdleStack[configMINIMAL_STACK_SIZE];

void vApplicationGetIdleTaskMemory(
    StaticTask_t **ppxIdleTaskTCBBuffer,
    StackType_t ** ppxIdleTaskStackBuffer,
    uint32_t *     pulIdleTaskStackSize)
{
    *ppxIdleTaskTCBBuffer   = &xIdleTaskTCBBuffer;
    *ppxIdleTaskStackBuffer = &xIdleStack[0];
    *pulIdleTaskStackSize   = configMINIMAL_STACK_SIZE;
    /* place for user code */
}
/* USER CODE END GET_IDLE_TASK_MEMORY */

/************************ (C) COPYRIGHT STMicroelectronics *****END OF FILE****/
